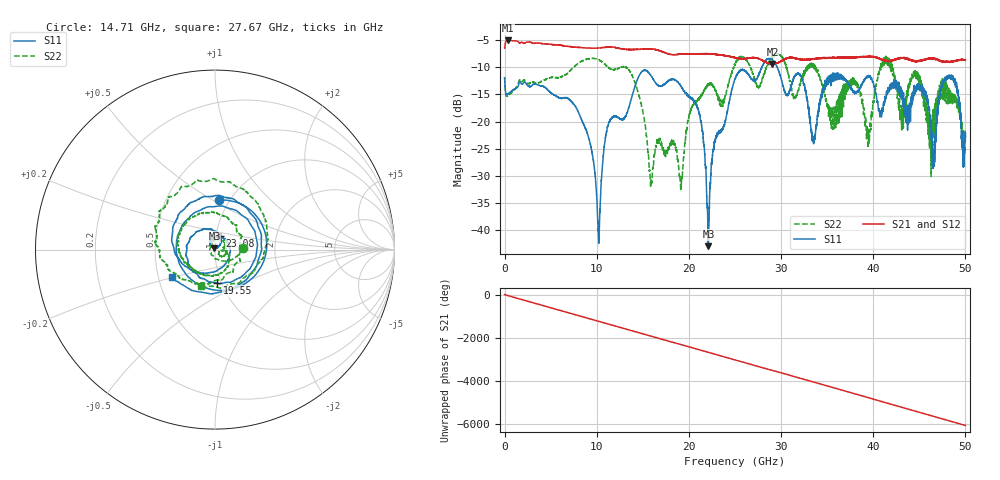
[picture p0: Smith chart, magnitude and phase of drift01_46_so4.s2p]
!Created with skrf (http://scikit-rf.org).
# Hz S RI R 50.0
!freq ReS11 ImS11 ReS21 ImS21 ReS12 ImS12 ReS22 ImS22
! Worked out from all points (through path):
!   10001 points, 300 kHz to 50 GHz, reference 50 ohm
!   highest |S21| = -5.06 dB at 345.3 MHz (marker M1); lowest = -9.4 dB at 29.06 GHz (marker M2)
!   group delay of S21, straight-line fit = 336 ps
!   lowest |S11| = -42.9 dB at 22.12 GHz (marker M3), VSWR 1.01, Z = 49.7 + j0.637 ohm
!   |S11| at or under -10 dB: start of sweep to 27.92 GHz; 29.58882 GHz to 29.59931 GHz (10.49 MHz wide, 0.0354 % of centre); 29.6 GHz to end of sweep
!   |S22| runs from -32.5 to -7.4 dB; largest |S21 - S12| = 0.014
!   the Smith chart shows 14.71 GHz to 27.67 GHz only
!   S11 on the Smith chart (normalised r, x): 14.71 GHz: 0.89, +0.53; 19.55 GHz: 0.95, -0.37; 23.08 GHz: 1.05, +0.15; 27.67 GHz: 0.59, -0.20
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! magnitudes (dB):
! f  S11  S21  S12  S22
! 300 kHz  -12.0  -6.5  -6.6  -11.8
! 345.3 MHz  -15.0  -5.1  -5.1  -15.3
! 8.335 GHz  -19.6  -6.4  -6.4  -8.9
! 10.21 GHz  -41.8  -6.4  -6.4  -8.6
! 11.24 GHz  -20.6  -6.3  -6.3  -10.0
! 14.71 GHz  -11.2  -6.7  -6.7  -16.1
! 15.88 GHz  -11.5  -6.6  -6.6  -31.2
! 16.67 GHz  -13.4  -6.9  -6.9  -23.2
! 19.55 GHz  -14.6  -7.5  -7.5  -24.1
! 21.2 GHz  -18.9  -7.5  -7.5  -15.7
! 22.12 GHz  -42.9  -7.5  -7.5  -13.3
! 23.08 GHz  -22.1  -7.6  -7.7  -15.0
! 25 GHz  -12.1  -8.2  -8.3  -9.5
! 27.67 GHz  -11.0  -8.5  -8.5  -13.3
! 29.06 GHz  -8.6  -9.4  -9.4  -8.0
! 33.34 GHz  -22.4  -8.5  -8.5  -9.5
! 39.48 GHz  -11.5  -8.1  -8.1  -21.9
! 41.67 GHz  -13.8  -8.8  -8.8  -8.8
! 45.36 GHz  -14.0  -8.7  -8.7  -14.0
! 46.56 GHz  -25.7  -8.3  -8.3  -21.7
! 48.52 GHz  -11.6  -9.0  -9.0  -14.9
! 50 GHz  -23.4  -8.7  -8.8  -23.0
